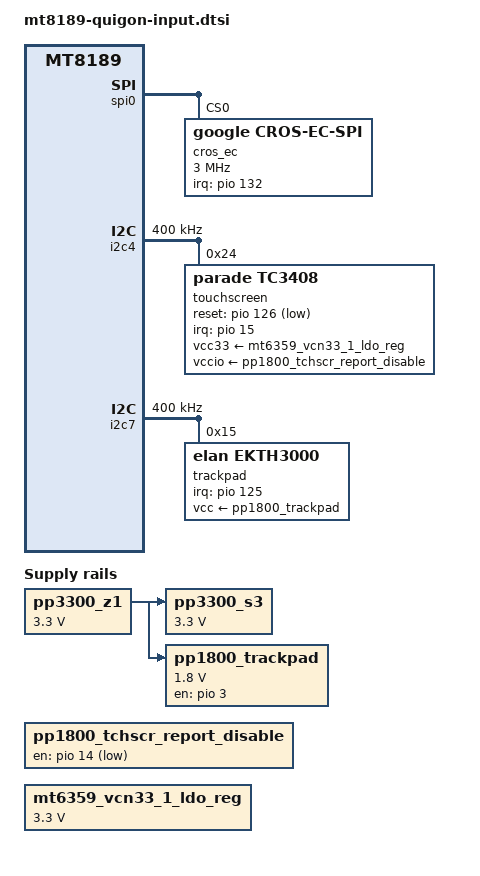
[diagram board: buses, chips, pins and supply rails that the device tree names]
// SPDX-License-Identifier: (GPL-2.0 OR MIT)
/*
 * quigon input and battery: ChromeOS EC on SPI0 (keyboard matrix, power button, lid switch, I2C tunnel to the
 * smart battery), Elan touchpad on I2C7, Parade TC3408 touchscreen on I2C4. Board wiring from ChromeOS's
 * mt8189-skywalker.dtsi / -obiwan.dts; the keymap and function-row map are copied from the device tree the
 * firmware hands the ChromeOS kernel on this machine (obiwan with the v3.0 top row).
 */
#include <dt-bindings/gpio/gpio.h>
#include <dt-bindings/input/input.h>

/ {
	/* system wide 3.3 V rail, switched by the EC */
	pp3300_z1: regulator-pp3300-z1 {
		compatible = "regulator-fixed";
		regulator-name = "pp3300_z1";
		regulator-always-on;
		regulator-boot-on;
		regulator-min-microvolt = <3300000>;
		regulator-max-microvolt = <3300000>;
	};

	/* 3.3 V rail switched by the PMIC */
	pp3300_s3: regulator-pp3300-s3 {
		compatible = "regulator-fixed";
		regulator-name = "pp3300_s3";
		regulator-always-on;
		regulator-boot-on;
		regulator-min-microvolt = <3300000>;
		regulator-max-microvolt = <3300000>;
		vin-supply = <&pp3300_z1>;
	};

	pp1800_trackpad: regulator-pp1800-trackpad {
		compatible = "regulator-fixed";
		regulator-name = "pp1800_trackpad";
		regulator-min-microvolt = <1800000>;
		regulator-max-microvolt = <1800000>;
		enable-active-high;
		gpio = <&pio 3 GPIO_ACTIVE_HIGH>;
		pinctrl-names = "default";
		pinctrl-0 = <&trackpad_pwr_pins>;
		vin-supply = <&pp3300_z1>;
	};

	/* touchscreen "report disable" line, modelled as an active-low regulator like ChromeOS does */
	pp1800_tchscr_report_disable: regulator-pp1800-tchscr-report-disable {
		compatible = "regulator-fixed";
		regulator-name = "pp1800_tchscr_report_disable";
		pinctrl-names = "default";
		pinctrl-0 = <&touch_pin_report>;
		gpio = <&pio 14 GPIO_ACTIVE_LOW>;
	};

	soc {
		spi0: spi@11010800 {
			/* ChromeOS: mediatek,mt8189-spi (pad select, enhanced timing, 64-bit DMA, IPM design) */
			compatible = "mediatek,mt8189-spi", "mediatek,mt6991-spi";
			reg = <0 0x11010800 0 0x100>;
			interrupts = <GIC_SPI 459 IRQ_TYPE_LEVEL_HIGH 0>;
			clocks = <&topckgen CLK_TOP_UNIVPLL_D6_D2>,
				 <&topckgen CLK_TOP_SPI0_SEL>,
				 <&peri_ao CLK_PERAO_SPI0_B>,
				 <&peri_ao CLK_PERAO_SPI0_H>;
			clock-names = "parent-clk", "sel-clk", "spi-clk", "hclk";
			#address-cells = <1>;
			#size-cells = <0>;
			mediatek,pad-select = <0>;
			pinctrl-names = "default";
			pinctrl-0 = <&spi0_pins>;

			cros_ec: ec@0 {
				compatible = "google,cros-ec-spi";
				reg = <0>;
				interrupts-extended = <&pio 132 IRQ_TYPE_LEVEL_LOW>;
				pinctrl-names = "default";
				pinctrl-0 = <&ec_int_pins>;
				spi-max-frequency = <3000000>;
				#gpio-cells = <2>;
				gpio-controller;

				i2c_tunnel: i2c-tunnel {
					compatible = "google,cros-ec-i2c-tunnel";
					google,remote-bus = <4>;
					#address-cells = <1>;
					#size-cells = <0>;

					battery: sbs-battery@b {
						compatible = "sbs,sbs-battery";
						reg = <0xb>;
						sbs,i2c-retry-count = <2>;
						sbs,poll-retry-count = <10>;
					};
				};

				keyboard-controller {
					compatible = "google,cros-ec-keyb";
					keypad,num-rows = <8>;
					keypad,num-columns = <18>;
					google,needs-ghost-filter;
					function-row-physmap = <
						0x00020000 0x03020000 0x02020000 0x01020000 0x04040000 0x02040000 0x01040000
						0x020b0000 0x01090000 0x00040000 0x00010000 0x01050000 0x03050000 0x000b0000
					>;
					linux,keymap = <
						0x00010057 0x0002003b 0x00040044 0x000b00b8 0x000c00b9 0x0102003e
			0x01040041 0x01050058 0x01090043 0x0202003d 0x02040040 0x020b0042
			0x0302003c 0x030500b7 0x0404003f 0x00030030 0x00050031 0x00060059
			0x0008000d 0x00090066 0x000a0064 0x001001d0 0x01010001 0x01030022
			0x01060023 0x01080028 0x010b000e 0x010c005c 0x010e001d 0x0201000f
			0x02030014 0x0205001b 0x02060015 0x0208001a 0x0209006f 0x020c0068
			0x0211007c 0x0300007d 0x03010029 0x03030006 0x0304001f 0x0306000c
			0x03080007 0x0309008e 0x030b002b 0x030c005e 0x030e0061 0x0401001e
			0x04020020 0x04030021 0x04050025 0x04060024 0x04080027 0x04090026
			0x040b001c 0x040c006b 0x05010002 0x05020033 0x05030034 0x05040035
			0x0505002e 0x05060039 0x0507002a 0x0508002d 0x0509002f 0x050b0032
			0x050c006d 0x0601002c 0x06020004 0x06030005 0x06040003 0x06050009
			0x0606000b 0x06080008 0x0609000a 0x060b006c 0x060c006a 0x060d0038
			0x060f0247 0x0611002b 0x07010016 0x07020017 0x07030018 0x07040019
			0x07050010 0x07060011 0x07070036 0x07080012 0x07090013 0x070b0067
			0x070c0069 0x07110056 0x0002009e 0x030200ad 0x02020174 0x01020078
			0x04040063 0x020400e0 0x010400e1 0x020b00e4 0x010900f8 0x00040071
			0x00010072 0x01050073 0x0305024e 0x000b024a
					>;
				};
			};
		};
	};
};

/* touchscreen (the firmware enables whichever part is fitted; this one has the Parade TC3408) */
&i2c4 {
	clock-frequency = <400000>;
	pinctrl-names = "default";
	pinctrl-0 = <&i2c4_pins>;
	status = "okay";

	touchscreen@24 {
		compatible = "parade,tc3408";
		reg = <0x24>;
		interrupts-extended = <&pio 15 IRQ_TYPE_LEVEL_LOW>;
		pinctrl-names = "default";
		pinctrl-0 = <&touchscreen_pins>;
		reset-gpios = <&pio 126 GPIO_ACTIVE_LOW>;
		vcc33-supply = <&mt6359_vcn33_1_ldo_reg>;
		vccio-supply = <&pp1800_tchscr_report_disable>;
	};
};

/* touchpad: Elan (elan_i2c) */
&i2c7 {
	clock-frequency = <400000>;
	pinctrl-names = "default";
	pinctrl-0 = <&i2c7_pins>;
	status = "okay";

	trackpad@15 {
		compatible = "elan,ekth3000";
		reg = <0x15>;
		interrupts-extended = <&pio 125 IRQ_TYPE_LEVEL_LOW>;
		pinctrl-names = "default";
		pinctrl-0 = <&trackpad_pins>;
		vcc-supply = <&pp1800_trackpad>;
		wakeup-source;
	};
};

/* touchscreen 3.3 V */
&mt6359_vcn33_1_ldo_reg {
	regulator-min-microvolt = <3300000>;
	regulator-max-microvolt = <3300000>;
};

&pio {
	/* ChromeOS skywalker / obiwan */
	spi0_pins: spi0-pins {
		pins-bus {
			pinmux = <PINMUX_GPIO69__FUNC_SPIM0_CSB>,
				 <PINMUX_GPIO70__FUNC_SPIM0_CLK>,
				 <PINMUX_GPIO71__FUNC_SPIM0_MO>,
				 <PINMUX_GPIO72__FUNC_SPIM0_MI>;
		};
	};

	ec_int_pins: ec-int-pins {
		pins-int {
			pinmux = <PINMUX_GPIO132__FUNC_GPIO132>;
			input-enable;
			bias-disable;
		};
	};

	i2c4_pins: i2c4-pins {
		pins-bus {
			pinmux = <PINMUX_GPIO59__FUNC_SCL4>,
				 <PINMUX_GPIO60__FUNC_SDA4>;
			bias-disable;
		};
	};

	i2c7_pins: i2c7-pins {
		pins-bus {
			pinmux = <PINMUX_GPIO65__FUNC_SCL7>,
				 <PINMUX_GPIO66__FUNC_SDA7>;
			drive-strength = <4>;
			bias-disable;
		};
	};

	touchscreen_pins: touchscreen-pins {
		pins-int {
			pinmux = <PINMUX_GPIO15__FUNC_GPIO15>;
			input-enable;
			bias-pull-up;
		};

		pins-reset {
			pinmux = <PINMUX_GPIO126__FUNC_GPIO126>;
			output-high;
		};
	};

	touch_pin_report: pin-report-pins {
		pins-touch-en {
			pinmux = <PINMUX_GPIO14__FUNC_GPIO14>;
			output-low;
		};
	};

	trackpad_pins: trackpad-pins {
		pins-int {
			pinmux = <PINMUX_GPIO125__FUNC_GPIO125>;
			input-enable;
			bias-disable;
		};
	};

	trackpad_pwr_pins: trackpad-pwr-pins {
		pins-pwr {
			pinmux = <PINMUX_GPIO3__FUNC_GPIO3>;
			output-low;
		};
	};
};
